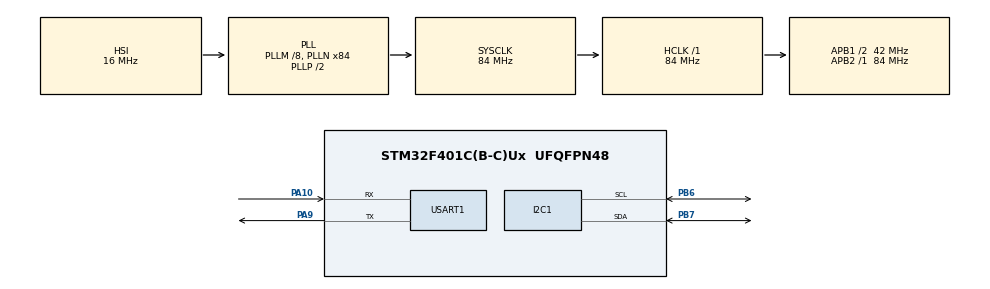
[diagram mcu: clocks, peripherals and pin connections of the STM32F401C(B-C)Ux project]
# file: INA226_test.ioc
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I2C1.I2C_Mode=I2C_Fast
Mcu.Family=STM32F4
Mcu.Name=STM32F401C(B-C)Ux
Mcu.Package=UFQFPN48
NVIC.PriorityGroup=NVIC_PRIORITYGROUP_4
PA10.Mode=Asynchronous
PA10.Signal=USART1_RX
PA9.Mode=Asynchronous
PA9.Signal=USART1_TX
PB6.Mode=I2C
PB6.Signal=I2C1_SCL
PB7.Mode=I2C
PB7.Signal=I2C1_SDA
ProjectManager.HeapSize=0x200
ProjectManager.StackSize=0x400
ProjectManager.TargetToolchain=STM32CubeIDE
RCC.48MHZClocksFreq_Value=42000000
RCC.AHBFreq_Value=84000000
RCC.APB1CLKDivider=RCC_HCLK_DIV2
RCC.APB1Freq_Value=42000000
RCC.APB1TimFreq_Value=84000000
RCC.APB2Freq_Value=84000000
RCC.APB2TimFreq_Value=84000000
RCC.CortexFreq_Value=84000000
RCC.HCLKFreq_Value=84000000
RCC.HSE_VALUE=25000000
RCC.HSI_VALUE=16000000
RCC.LSE_VALUE=32768
RCC.PLLM=8
RCC.PLLN=84
RCC.SYSCLKFreq_VALUE=84000000
RCC.SYSCLKSource=RCC_SYSCLKSOURCE_PLLCLK
RCC.VCOOutputFreq_Value=168000000
USART1.VirtualMode=VM_ASYNC
board=custom

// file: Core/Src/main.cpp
/* USER CODE BEGIN Header */
/**
  ******************************************************************************
  * @file           : main.c
  * @brief          : Main program body
  ******************************************************************************
  * @attention
  *
  * Copyright (c) 2026 STMicroelectronics.
  * All rights reserved.
  *
  * This software is licensed under terms that can be found in the LICENSE file
  * in the root directory of this software component.
  * If no LICENSE file comes with this software, it is provided AS-IS.
  *
  ******************************************************************************
  */
/* USER CODE END Header */
#include "main.h"

/* USER CODE BEGIN Includes */
#include<stdio.h>
#include<INA226STM.h>
/* USER CODE END Includes */

I2C_HandleTypeDef hi2c1;

UART_HandleTypeDef huart1;

void SystemClock_Config(void);
static void MX_GPIO_Init(void);
static void MX_I2C1_Init(void);
static void MX_USART1_UART_Init(void);

/* USER CODE BEGIN 0 */
// Send printf to uart1
int _write(int fd, char* ptr, int len) {
  HAL_StatusTypeDef hstatus;

  if (fd == 1 || fd == 2) {
    hstatus = HAL_UART_Transmit(&huart1, (uint8_t *) ptr, len, HAL_MAX_DELAY);
    if (hstatus == HAL_OK)
      return len;
    else
      return -1;
  }
  return -1;
}
/* USER CODE END 0 */

int main(void)
{

  /* MCU Configuration--------------------------------------------------------*/

  /* Reset of all peripherals, Initializes the Flash interface and the Systick. */
  HAL_Init();

  /* Configure the system clock */
  SystemClock_Config();

  /* Initialize all configured peripherals */
  MX_GPIO_Init();
  MX_I2C1_Init();
  MX_USART1_UART_Init();

  /* Infinite loop */
  /* USER CODE BEGIN WHILE */
  while (1)
  {
	for(uint8_t address = 0x01; address < 0x7f; address++){
	  if(HAL_I2C_IsDeviceReady(&hi2c1, (address<<1) ,3,100)==HAL_OK){
	  	printf("device found at address 0x%02X\r\n",address);
	  }
	 HAL_Delay(10);
	}
    /* USER CODE END WHILE */

  }
}

void SystemClock_Config(void)
{
  RCC_OscInitTypeDef RCC_OscInitStruct = {0};
  RCC_ClkInitTypeDef RCC_ClkInitStruct = {0};

  /** Configure the main internal regulator output voltage
  */
  __HAL_RCC_PWR_CLK_ENABLE();
  __HAL_PWR_VOLTAGESCALING_CONFIG(PWR_REGULATOR_VOLTAGE_SCALE2);

  /** Initializes the RCC Oscillators according to the specified parameters
  * in the RCC_OscInitTypeDef structure.
  */
  RCC_OscInitStruct.OscillatorType = RCC_OSCILLATORTYPE_HSI;
  RCC_OscInitStruct.HSIState = RCC_HSI_ON;
  RCC_OscInitStruct.HSICalibrationValue = RCC_HSICALIBRATION_DEFAULT;
  RCC_OscInitStruct.PLL.PLLState = RCC_PLL_ON;
  RCC_OscInitStruct.PLL.PLLSource = RCC_PLLSOURCE_HSI;
  RCC_OscInitStruct.PLL.PLLM = 8;
  RCC_OscInitStruct.PLL.PLLN = 84;
  RCC_OscInitStruct.PLL.PLLP = RCC_PLLP_DIV2;
  RCC_OscInitStruct.PLL.PLLQ = 4;
  if (HAL_RCC_OscConfig(&RCC_OscInitStruct) != HAL_OK)
  {
    Error_Handler();
  }

  /** Initializes the CPU, AHB and APB buses clocks
  */
  RCC_ClkInitStruct.ClockType = RCC_CLOCKTYPE_HCLK|RCC_CLOCKTYPE_SYSCLK
                              |RCC_CLOCKTYPE_PCLK1|RCC_CLOCKTYPE_PCLK2;
  RCC_ClkInitStruct.SYSCLKSource = RCC_SYSCLKSOURCE_PLLCLK;
  RCC_ClkInitStruct.AHBCLKDivider = RCC_SYSCLK_DIV1;
  RCC_ClkInitStruct.APB1CLKDivider = RCC_HCLK_DIV2;
  RCC_ClkInitStruct.APB2CLKDivider = RCC_HCLK_DIV1;

  if (HAL_RCC_ClockConfig(&RCC_ClkInitStruct, FLASH_LATENCY_2) != HAL_OK)
  {
    Error_Handler();
  }
}

static void MX_I2C1_Init(void)
{

  hi2c1.Instance = I2C1;
  hi2c1.Init.ClockSpeed = 400000;
  hi2c1.Init.DutyCycle = I2C_DUTYCYCLE_2;
  hi2c1.Init.OwnAddress1 = 0;
  hi2c1.Init.AddressingMode = I2C_ADDRESSINGMODE_7BIT;
  hi2c1.Init.DualAddressMode = I2C_DUALADDRESS_DISABLE;
  hi2c1.Init.OwnAddress2 = 0;
  hi2c1.Init.GeneralCallMode = I2C_GENERALCALL_DISABLE;
  hi2c1.Init.NoStretchMode = I2C_NOSTRETCH_DISABLE;
  if (HAL_I2C_Init(&hi2c1) != HAL_OK)
  {
    Error_Handler();
  }

}

static void MX_USART1_UART_Init(void)
{

  huart1.Instance = USART1;
  huart1.Init.BaudRate = 115200;
  huart1.Init.WordLength = UART_WORDLENGTH_8B;
  huart1.Init.StopBits = UART_STOPBITS_1;
  huart1.Init.Parity = UART_PARITY_NONE;
  huart1.Init.Mode = UART_MODE_TX_RX;
  huart1.Init.HwFlowCtl = UART_HWCONTROL_NONE;
  huart1.Init.OverSampling = UART_OVERSAMPLING_16;
  if (HAL_UART_Init(&huart1) != HAL_OK)
  {
    Error_Handler();
  }

}

static void MX_GPIO_Init(void)
{

  /* GPIO Ports Clock Enable */
  __HAL_RCC_GPIOA_CLK_ENABLE();
  __HAL_RCC_GPIOB_CLK_ENABLE();

}

void Error_Handler(void)
{
  __disable_irq();
  while (1)
  {
  }
}
